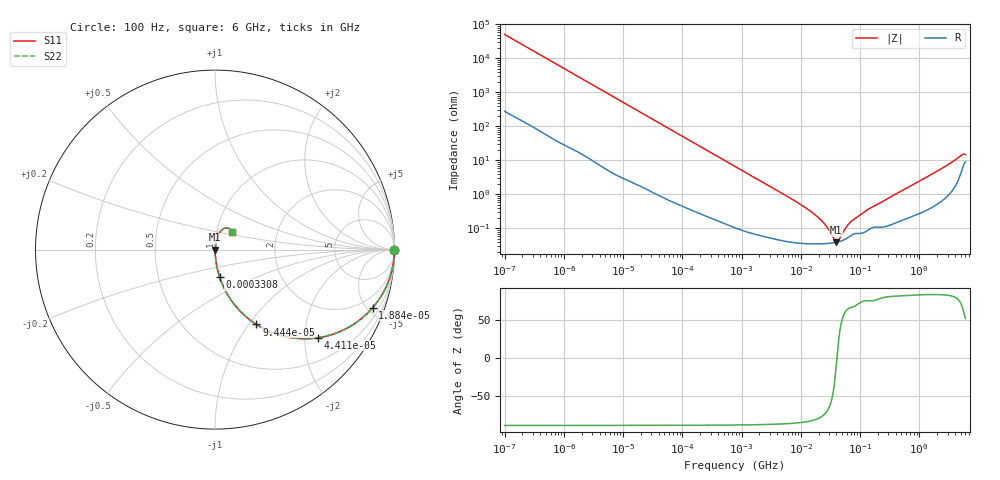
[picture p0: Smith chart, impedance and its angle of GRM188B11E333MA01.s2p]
!Murata Part Number: GRM188B11E333MA01
!These Parameters are Measured in Series Mode Connection
!Data Generated on Mar 30, 2021
!  o--ll--o
!Port1  Port2
!  o------o
!Operation Temp=25[degC], DC Bias Voltage=0[V]
!Freq. Start=100[Hz] Stop=6[GHz] 401[Steps]
# Hz S RI R 50
!Freq.(Hz) S11(Real) S11(Imag) S21(Real) S21(Imag) S12(Real) S12(Imag) S22(Real) S22(Imag)
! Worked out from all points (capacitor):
!   401 points, 100 Hz to 6 GHz, reference 50 ohm
!   read as one part in series: C = 31.7 nF near 109 Hz
!   lowest |Z| = 39.6 mohm at 39.84 MHz (marker M1)
!   series resonance near 40.71 MHz, so ESL is about 480 pH
!   S11 on the Smith chart (normalised r, x): 100 Hz: open; 18.84 kHz: 1.04, -5.42; 44.11 kHz: 1.02, -2.33; 94.44 kHz: 1.01, -1.09; 330.8 kHz: 1.00, -0.31; 6 GHz: 1.18, +0.23
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100  1 -0.00199  1.5e-05 0.00199  1.5e-05 0.00199  1 -0.00199
2008  0.9982 -0.0395  0.0018 0.0395  0.0018 0.0395  0.9982 -0.0395
6728  0.9822 -0.1297  0.0178 0.1297  0.0178 0.1297  0.9822 -0.1297
18841  0.8787 -0.3232  0.1213 0.3232  0.1213 0.3232  0.8787 -0.3232
40335  0.6169 -0.4825  0.3831 0.4825  0.3831 0.4825  0.6169 -0.4825
44113  0.5743 -0.4908  0.4257 0.4908  0.4257 0.4908  0.5743 -0.4908
94437  0.2309 -0.4172  0.7691 0.4172  0.7691 0.4172  0.2309 -0.4172
161617  0.0948 -0.2881  0.9052 0.2881  0.9052 0.2881  0.0948 -0.2881
330837  0.0257 -0.1523  0.9743 0.1523  0.9743 0.1523  0.0257 -0.1523
774597  0.00554 -0.0669  0.9945 0.0669  0.9945 0.0669  0.00554 -0.0669
6353432  0.000467 -0.00814  0.9995 0.00814  0.9995 0.00814  0.000467 -0.00814
1.555665e7  0.00036 -0.00292  0.9996 0.00292  0.9996 0.00292  0.00036 -0.00292
2.434276e7  0.000357 -0.00141  0.9996 0.00141  0.9996 0.00141  0.000357 -0.00141
3.983537e7  0.000392 -5.68e-05  0.9996 5.68e-05  0.9996 5.68e-05  0.000392 -5.68e-05
4.35672e7  0.000406 0.000179  0.9996 -0.000179  0.9996 -0.000179  0.000406 0.000179
5.960426e7  0.000511 0.00102  0.9995 -0.00102  0.9995 -0.00102  0.000511 0.00102
7.455971e7  0.000668 0.0016  0.9993 -0.0016  0.9993 -0.0016  0.000668 0.0016
1.334425e8  0.000881 0.00344  0.9991 -0.00344  0.9991 -0.00344  0.000881 0.00344
3.124326e8  0.00129 0.00795  0.9987 -0.00795  0.9987 -0.00795  0.00129 0.00795
3.065283e9  0.0145 0.0727  0.9855 -0.0727  0.9855 -0.0727  0.0145 0.0727
5.016141e9  0.0549 0.1193  0.9451 -0.1193  0.9451 -0.1193  0.0549 0.1193
6e9  0.094 0.0975  0.906 -0.0975  0.906 -0.0975  0.094 0.0975
